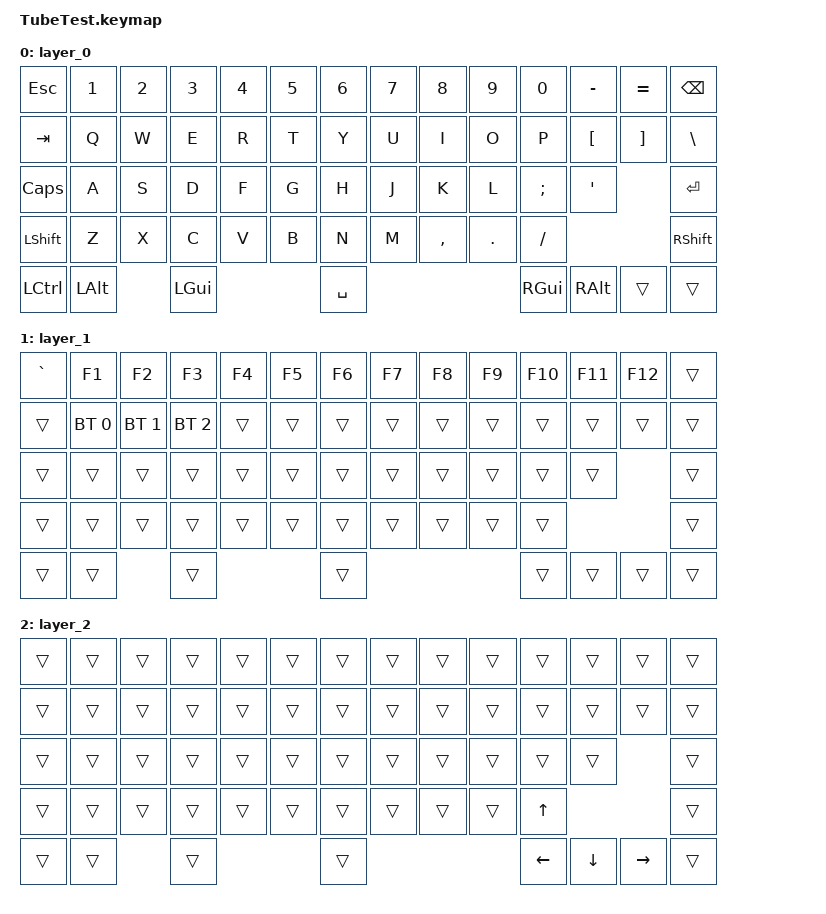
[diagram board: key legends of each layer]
#include <behaviors.dtsi>
#include <dt-bindings/zmk/bt.h>
#include <dt-bindings/zmk/keys.h>

/ {
    keymap {
        compatible = "zmk,keymap";

        layer_0 {
            bindings = <
&kp ESC    &kp N1    &kp N2  &kp N3    &kp N4  &kp N5  &kp N6     &kp N7  &kp N8     &kp N9   &kp N0    &kp MINUS  &kp EQUAL  &kp BSPC
&kp TAB    &kp Q     &kp W   &kp E     &kp R   &kp T   &kp Y      &kp U   &kp I      &kp O    &kp P     &kp LBKT   &kp RBKT   &kp BSLH
&kp CAPS   &kp A     &kp S   &kp D     &kp F   &kp G   &kp H      &kp J   &kp K      &kp L    &kp SEMI  &kp SQT               &kp RET
&kp LSHFT  &kp Z     &kp X   &kp C     &kp V   &kp B   &kp N      &kp M   &kp COMMA  &kp DOT  &kp FSLH                        &kp RSHFT
&kp LCTRL  &kp LALT          &kp LGUI                  &kp SPACE                              &kp RGUI  &kp RALT   &trans     &trans
            >;
        };

        layer_1 {
            bindings = <
&kp GRAVE  &kp F1        &kp F2        &kp F3        &kp F4  &kp F5  &kp F6  &kp F7  &kp F8  &kp F9  &kp F10  &kp F11  &kp F12  &trans
&trans     &bt BT_SEL 0  &bt BT_SEL 1  &bt BT_SEL 2  &trans  &trans  &trans  &trans  &trans  &trans  &trans   &trans   &trans   &trans
&trans     &trans        &trans        &trans        &trans  &trans  &trans  &trans  &trans  &trans  &trans   &trans            &trans
&trans     &trans        &trans        &trans        &trans  &trans  &trans  &trans  &trans  &trans  &trans                     &trans
&trans     &trans                      &trans                        &trans                          &trans   &trans   &trans   &trans
            >;
        };

        layer_2 {
            bindings = <
&trans  &trans  &trans  &trans  &trans  &trans  &trans  &trans  &trans  &trans  &trans    &trans    &trans     &trans
&trans  &trans  &trans  &trans  &trans  &trans  &trans  &trans  &trans  &trans  &trans    &trans    &trans     &trans
&trans  &trans  &trans  &trans  &trans  &trans  &trans  &trans  &trans  &trans  &trans    &trans               &trans
&trans  &trans  &trans  &trans  &trans  &trans  &trans  &trans  &trans  &trans  &kp UP                         &trans
&trans  &trans          &trans                  &trans                          &kp LEFT  &kp DOWN  &kp RIGHT  &trans
            >;
        };
    };
};
